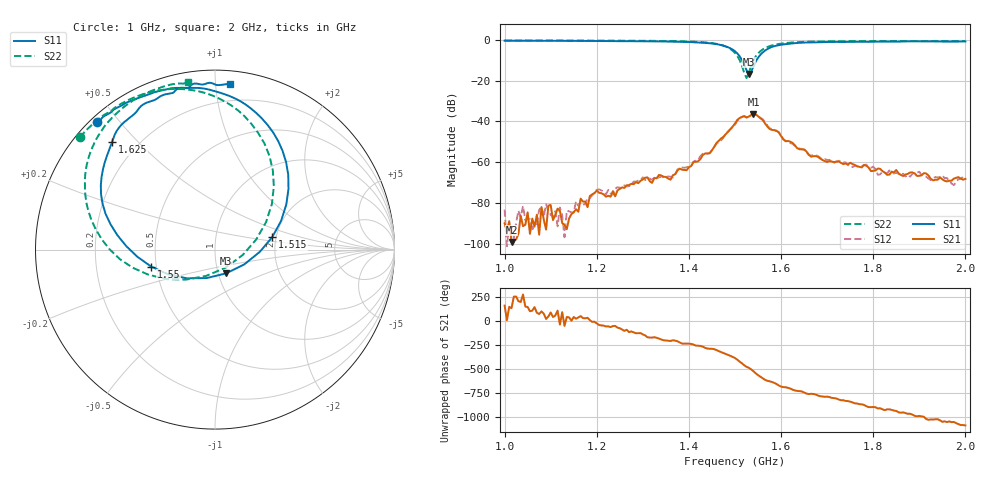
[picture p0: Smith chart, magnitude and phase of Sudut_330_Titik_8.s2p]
# Hz S RI R 50
! CMT, C1220, 16058040, 17.2.0/1
! Date: 14/08/2018 12:09:16
! Data: Format (Calibration Info)
! Freq  S11: Re/Im (F2)  S21: Re/Im (F2)  S12: Re/Im (F2)  S22: Re/Im (F2)
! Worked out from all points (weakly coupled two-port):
!   201 points, 1 GHz to 2 GHz, reference 50 ohm
!   highest |S21| = -36.41 dB at 1.54 GHz (marker M1); lowest = -99.2 dB at 1.015 GHz (marker M2)
!   lowest |S11| = -16.7 dB at 1.53 GHz (marker M3), VSWR 1.34, Z = 54.5 - j14.7 ohm
!   |S11| at or under -10 dB: 1.516 GHz to 1.546 GHz (30.94 MHz wide, 2.02 % of centre)
!   |S22| runs from -18.7 to -0.2 dB; largest |S21 - S12| = 0.00069
!   S11 on the Smith chart (normalised r, x): 1 GHz: 0.02, +0.44; 1.515 GHz: 1.90, +0.29; 1.55 GHz: 0.47, -0.10; 1.625 GHz: 0.11, +0.42; 2 GHz: 0.09, +1.09
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1e9  -0.6548 0.7098  -3e-05 9.92e-06  6.85e-05 -3.24e-06  -0.7534 0.6255
1.015e9  -0.6381 0.7223  -7.69e-06 7.85e-06  -4.89e-06 2.66e-05  -0.7429 0.6371
1.17e9  -0.4871 0.8217  9.14e-05 5.69e-05  8.7e-05 2.32e-05  -0.6163 0.7516
1.2e9  -0.4458 0.8368  0.000184 -8.01e-05  0.000188 -9.36e-05  -0.5823 0.765
1.24e9  -0.3882 0.858  9.4e-05 -0.00011  9.98e-05 -0.0002  -0.5485 0.7967
1.335e9  -0.2304 0.9001  -0.000486 5.19e-06  -0.000422 3.23e-05  -0.3997 0.8661
1.395e9  -0.0634 0.8975  -0.000391 0.000499  -0.000446 0.000608  -0.2422 0.8946
1.46e9  0.229 0.7621  0.00152 0.00256  0.00172 0.0023  0.0928 0.8018
1.5e9  0.4094 0.3378  0.00822 -0.00346  0.00771 -0.00324  0.328 0.3528
1.515e9  0.3184 0.0687  0.0028 -0.0126  0.00306 -0.0126  0.2295 0.0562
1.525e9  0.1629 -0.0826  -0.00515 -0.0114  -0.00506 -0.0115  0.0589 -0.1006
1.53e9  0.0621 -0.1323  -0.00737 -0.011  -0.0074 -0.0111  -0.0501 -0.1469
1.54e9  -0.1569 -0.1602  -0.0142 -0.00521  -0.014 -0.00522  -0.2736 -0.164
1.55e9  -0.3559 -0.0943  -0.0126 0.00476  -0.0127 0.0042  -0.4588 -0.1007
1.58e9  -0.6269 0.2568  0.000102 0.0062  0.00033 0.00648  -0.706 0.216
1.625e9  -0.5737 0.5974  0.00293 0.000433  0.00278 0.000473  -0.7014 0.5212
1.67e9  -0.4625 0.7446  0.00113 -0.00083  0.00124 -0.000875  -0.6251 0.6734
1.81e9  -0.2071 0.8965  -0.000693 7.94e-05  -0.000467 0.000143  -0.4091 0.8582
1.835e9  -0.1611 0.8994  -0.000477 0.000129  -0.000543 0.000315  -0.3755 0.8748
1.95e9  0.00228 0.9192  0.000309 0.000217  0.000353 0.000314  -0.2111 0.925
1.975e9  0.0457 0.9192  0.000328 0.000218  0.000246 0.000118  -0.1783 0.9246
2e9  0.0852 0.9213  0.000387 -1.95e-05  0.000459 1.57e-05  -0.1507 0.9335
